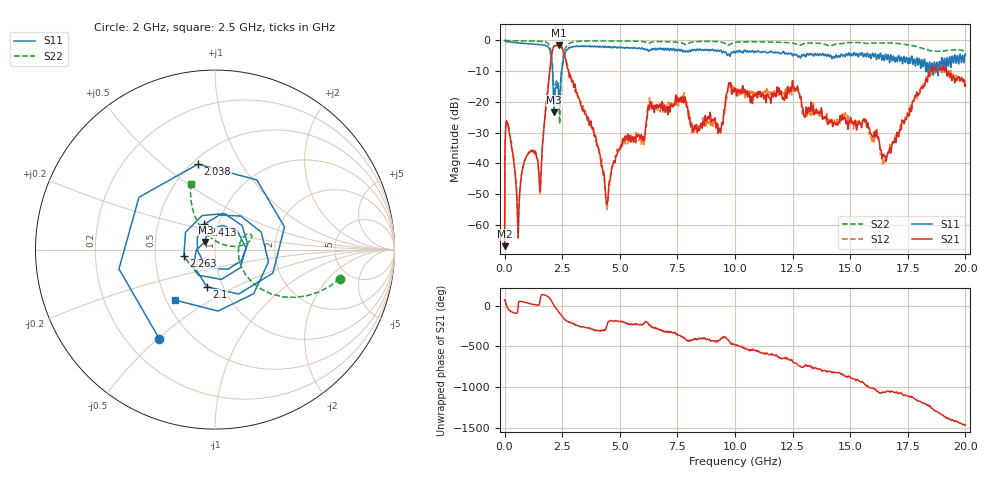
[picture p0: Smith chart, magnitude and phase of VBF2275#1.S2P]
!Agilent Technologies,E5071C,MY46215201,A.10.06
!Date: Mon Nov 18 15:30:47 2019
!Data & Calibration Information:
!Freq	S11:SOLT2(ON)	S21:SOLT2(ON)	S12:SOLT2(ON)	S22:SOLT2(ON)
!PortZ  Port1:50+j0  Port2:50+j0
!Above PortZ is port z conversion or system Z0 setting when saving the data.
!When reading, reference impedance value at option line is always used.
# Hz S dB R 50
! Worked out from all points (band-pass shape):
!   1601 points, 300 kHz to 20 GHz, reference 50 ohm
!   highest |S21| = -1.50 dB at 2.363 GHz (marker M1); lowest = -66.9 dB at 300 kHz (marker M2)
!   |S21| within 3 dB of the highest: 2.045 GHz to 2.588 GHz (542.9 MHz wide, 23.4 % of centre)
!   lowest |S11| = -23.3 dB at 2.15 GHz (marker M3), VSWR 1.15, Z = 44.8 + j3.84 ohm
!   |S11| at or under -10 dB: 2.081 GHz to 2.469 GHz (388.2 MHz wide, 17.1 % of centre); 18.58466 GHz to 18.6161 GHz (31.44 MHz wide, 0.169 % of centre); 18.79986 GHz to 18.83237 GHz (32.51 MHz wide, 0.173 % of centre)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
!   |S22| runs from -27.2 to 0.0 dB; largest |S21 - S12| = 0.1
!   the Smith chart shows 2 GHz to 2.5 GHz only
!   S11 on the Smith chart (normalised r, x): 2 GHz: 0.33, -0.51; 2.038 GHz: 0.54, +0.67; 2.1 GHz: 0.84, -0.36; 2.263 GHz: 0.70, -0.05; 2.413 GHz: 0.85, +0.25; 2.5 GHz: 0.55, -0.35
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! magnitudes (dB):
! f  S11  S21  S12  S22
! 300 kHz  0.0  -66.9  -65.5  0.0
! 137.8 MHz  -0.4  -27.1  -27.2  0.0
! 575.3 MHz  -0.8  -62.3  -63.1  -0.1
! 1.013 GHz  -1.1  -36.9  -37.1  -0.2
! 1.538 GHz  -1.3  -49.3  -49.9  -0.3
! 2 GHz  -4.7  -7.1  -6.5  -2.9
! 2.038 GHz  -6.3  -4.7  -5.3  -4.8
! 2.1 GHz  -13.5  -2.5  -2.5  -11.1
! 2.15 GHz  -23.3  -1.8  -2.0  -17.7
! 2.263 GHz  -15.0  -1.6  -1.6  -13.2
! 2.363 GHz  -19.5  -1.5  -1.5  -21.5
! 2.413 GHz  -16.3  -1.6  -1.6  -21.0
! 2.5 GHz  -8.9  -2.5  -2.4  -8.2
! 3.338 GHz  -1.7  -21.4  -20.9  -0.2
! 4.45 GHz  -2.2  -53.2  -55.1  -0.2
! 6.675 GHz  -2.8  -21.8  -21.7  -0.4
! 9.325 GHz  -3.5  -28.5  -28.6  -0.5
! 10 GHz  -4.1  -15.7  -15.3  -0.7
! 13.34 GHz  -4.5  -22.6  -24.3  -0.8
! 16.68 GHz  -5.2  -36.4  -36.6  -0.8
! 18.56 GHz  -7.8  -9.4  -10.7  -3.5
! 20 GHz  -4.5  -14.5  -14.9  -3.6
